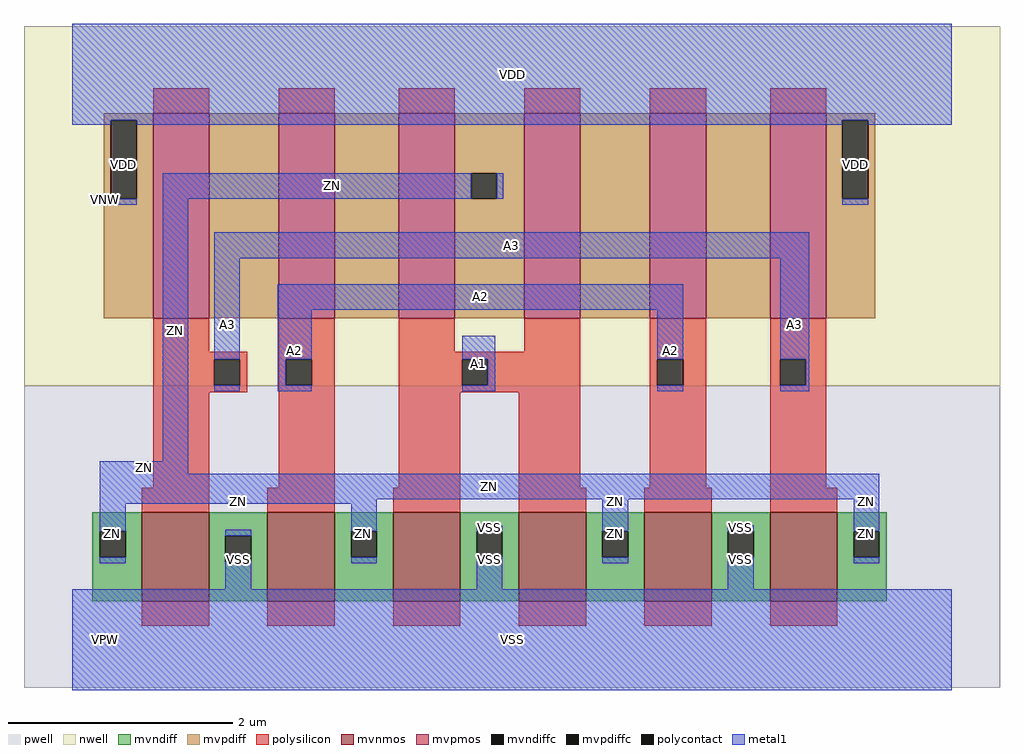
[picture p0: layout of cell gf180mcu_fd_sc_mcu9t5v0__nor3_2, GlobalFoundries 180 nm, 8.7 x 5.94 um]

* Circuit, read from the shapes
.subckt gf180mcu_fd_sc_mcu9t5v0__nor3_2 A1 A2 A3 ZN VDD VNW VPW VSS
XM1 VSS A3 ZN VPW nfet_06v0 w=0.79u l=0.6u m=2
XM2 ZN A2 VSS VPW nfet_06v0 w=0.79u l=0.6u m=2
XM3 VSS A1 ZN VPW nfet_06v0 w=0.79u l=0.6u m=2
XM4 n1 A3 VDD VNW pfet_06v0 w=1.83u l=0.5u
XM5 n2 A2 n1 VNW pfet_06v0 w=1.83u l=0.5u
XM6 ZN A1 n2 VNW pfet_06v0 w=1.83u l=0.5u
XM7 n3 A1 ZN VNW pfet_06v0 w=1.83u l=0.5u
XM8 n4 A2 n3 VNW pfet_06v0 w=1.83u l=0.5u
XM9 VDD A3 n4 VNW pfet_06v0 w=1.83u l=0.5u
.ends

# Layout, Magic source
magic
tech gf180mcuD
magscale 1 10
<< nwell >>
rect -86 453 1654 1094
<< pwell >>
rect -86 -86 1654 453
<< mvnmos >>
rect 124 69 244 227
rect 348 69 468 227
rect 572 69 692 227
rect 796 69 916 227
rect 1020 69 1140 227
rect 1244 69 1364 227
<< mvpmos >>
rect 144 573 244 939
rect 368 573 468 939
rect 582 573 682 939
rect 806 573 906 939
rect 1030 573 1130 939
rect 1244 573 1344 939
<< mvndiff >>
rect 36 193 124 227
rect 36 147 49 193
rect 95 147 124 193
rect 36 69 124 147
rect 244 185 348 227
rect 244 139 273 185
rect 319 139 348 185
rect 244 69 348 139
rect 468 193 572 227
rect 468 147 497 193
rect 543 147 572 193
rect 468 69 572 147
rect 692 193 796 227
rect 692 147 721 193
rect 767 147 796 193
rect 692 69 796 147
rect 916 193 1020 227
rect 916 147 945 193
rect 991 147 1020 193
rect 916 69 1020 147
rect 1140 193 1244 227
rect 1140 147 1169 193
rect 1215 147 1244 193
rect 1140 69 1244 147
rect 1364 193 1452 227
rect 1364 147 1393 193
rect 1439 147 1452 193
rect 1364 69 1452 147
<< mvpdiff >>
rect 56 926 144 939
rect 56 786 69 926
rect 115 786 144 926
rect 56 573 144 786
rect 244 573 368 939
rect 468 573 582 939
rect 682 832 806 939
rect 682 786 711 832
rect 757 786 806 832
rect 682 573 806 786
rect 906 573 1030 939
rect 1130 573 1244 939
rect 1344 926 1432 939
rect 1344 786 1373 926
rect 1419 786 1432 926
rect 1344 573 1432 786
<< mvndiffc >>
rect 49 147 95 193
rect 273 139 319 185
rect 497 147 543 193
rect 721 147 767 193
rect 945 147 991 193
rect 1169 147 1215 193
rect 1393 147 1439 193
<< mvpdiffc >>
rect 69 786 115 926
rect 711 786 757 832
rect 1373 786 1419 926
<< polysilicon >>
rect 144 939 244 983
rect 368 939 468 983
rect 582 939 682 983
rect 806 939 906 983
rect 1030 939 1130 983
rect 1244 939 1344 983
rect 144 513 244 573
rect 144 500 312 513
rect 144 454 253 500
rect 299 454 312 500
rect 144 441 312 454
rect 368 500 468 573
rect 368 454 381 500
rect 427 454 468 500
rect 144 271 244 441
rect 368 271 468 454
rect 582 513 682 573
rect 806 513 906 573
rect 582 500 906 513
rect 582 454 695 500
rect 741 454 906 500
rect 582 441 906 454
rect 582 271 692 441
rect 124 227 244 271
rect 348 227 468 271
rect 572 227 692 271
rect 796 271 906 441
rect 1030 500 1130 573
rect 1030 454 1043 500
rect 1089 454 1130 500
rect 1030 271 1130 454
rect 1244 500 1344 573
rect 1244 454 1262 500
rect 1308 454 1344 500
rect 1244 271 1344 454
rect 796 227 916 271
rect 1020 227 1140 271
rect 1244 227 1364 271
rect 124 25 244 69
rect 348 25 468 69
rect 572 25 692 69
rect 796 25 916 69
rect 1020 25 1140 69
rect 1244 25 1364 69
<< polycontact >>
rect 253 454 299 500
rect 381 454 427 500
rect 695 454 741 500
rect 1043 454 1089 500
rect 1262 454 1308 500
<< metal1 >>
rect 0 926 1568 1098
rect 0 918 69 926
rect 115 918 1373 926
rect 69 775 115 786
rect 161 786 711 832
rect 757 786 768 832
rect 1419 918 1568 926
rect 161 318 207 786
rect 1373 775 1419 786
rect 253 680 1314 726
rect 253 500 299 680
rect 253 443 299 454
rect 366 588 1089 634
rect 366 500 427 588
rect 366 454 381 500
rect 366 443 427 454
rect 695 500 754 542
rect 741 454 754 500
rect 695 443 754 454
rect 1043 500 1089 588
rect 1043 443 1089 454
rect 1262 500 1314 680
rect 1308 454 1314 500
rect 1262 443 1314 454
rect 49 296 207 318
rect 49 250 1439 296
rect 49 242 543 250
rect 49 193 95 242
rect 49 136 95 147
rect 273 185 319 196
rect 273 90 319 139
rect 497 193 543 242
rect 497 136 543 147
rect 721 193 767 204
rect 721 90 767 147
rect 945 193 991 250
rect 945 136 991 147
rect 1169 193 1215 204
rect 1169 90 1215 147
rect 1393 193 1439 250
rect 1393 136 1439 147
rect 0 -90 1568 90
<< labels >>
flabel metal1 s 695 443 754 542 0 FreeSans 200 0 0 0 A1
port 1 nsew default input
flabel metal1 s 366 588 1089 634 0 FreeSans 200 0 0 0 A2
port 2 nsew default input
flabel metal1 s 253 680 1314 726 0 FreeSans 200 0 0 0 A3
port 3 nsew default input
flabel metal1 s 0 918 1568 1098 0 FreeSans 200 0 0 0 VDD
port 5 nsew power bidirectional abutment
flabel metal1 s 1169 196 1215 204 0 FreeSans 200 0 0 0 VSS
port 8 nsew ground bidirectional abutment
flabel metal1 s 161 786 768 832 0 FreeSans 200 0 0 0 ZN
port 4 nsew default output
flabel nwell s 10 734 110 834 0 FreeSans 400 0 0 0 VNW
port 6 nsew power bidirectional
flabel pwell s 10 -50 110 50 0 FreeSans 400 0 0 0 VPW
port 7 nsew ground bidirectional
rlabel metal1 s 1043 443 1089 588 1 A2
port 2 nsew default input
rlabel metal1 s 366 443 427 588 1 A2
port 2 nsew default input
rlabel metal1 s 1262 443 1314 680 1 A3
port 3 nsew default input
rlabel metal1 s 253 443 299 680 1 A3
port 3 nsew default input
rlabel metal1 s 161 318 207 786 1 ZN
port 4 nsew default output
rlabel metal1 s 49 296 207 318 1 ZN
port 4 nsew default output
rlabel metal1 s 49 250 1439 296 1 ZN
port 4 nsew default output
rlabel metal1 s 1393 242 1439 250 1 ZN
port 4 nsew default output
rlabel metal1 s 945 242 991 250 1 ZN
port 4 nsew default output
rlabel metal1 s 49 242 543 250 1 ZN
port 4 nsew default output
rlabel metal1 s 1393 136 1439 242 1 ZN
port 4 nsew default output
rlabel metal1 s 945 136 991 242 1 ZN
port 4 nsew default output
rlabel metal1 s 497 136 543 242 1 ZN
port 4 nsew default output
rlabel metal1 s 49 136 95 242 1 ZN
port 4 nsew default output
rlabel metal1 s 1373 775 1419 918 1 VDD
port 5 nsew power bidirectional abutment
rlabel metal1 s 69 775 115 918 1 VDD
port 5 nsew power bidirectional abutment
rlabel metal1 s 721 196 767 204 1 VSS
port 8 nsew ground bidirectional abutment
rlabel metal1 s 1169 90 1215 196 1 VSS
port 8 nsew ground bidirectional abutment
rlabel metal1 s 721 90 767 196 1 VSS
port 8 nsew ground bidirectional abutment
rlabel metal1 s 273 90 319 196 1 VSS
port 8 nsew ground bidirectional abutment
rlabel metal1 s 0 -90 1568 90 1 VSS
port 8 nsew ground bidirectional abutment
<< properties >>
string FIXED_BBOX 0 0 1568 1008
string GDS_END 92474
string GDS_FILE $PDKPATH/libs.ref/gf180mcu_fd_sc_mcu9t5v0/gds/gf180mcu_fd_sc_mcu9t5v0.gds
string GDS_START 88696
string LEFclass core
string LEFsite GF018hv5v_green_sc9
string LEFsymmetry X Y
<< end >>
